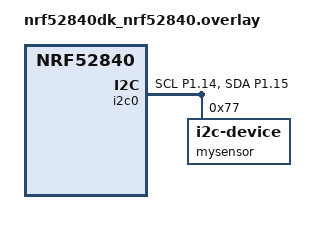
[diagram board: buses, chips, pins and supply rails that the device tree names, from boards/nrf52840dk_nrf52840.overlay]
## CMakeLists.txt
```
cmake_minimum_required(VERSION 3.20.0)
find_package(Zephyr REQUIRED HINTS $ENV{ZEPHYR_BASE})
project(peripheral_nus)

target_sources(app PRIVATE
  src/main.c
)
```

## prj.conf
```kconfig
CONFIG_BT=y
CONFIG_BT_PERIPHERAL=y
CONFIG_BT_ZEPHYR_NUS=y
CONFIG_BT_DEVICE_NAME="NRF_ENV_SENSOR"
# Enable the I2C driver
CONFIG_I2C=y
# Enable floating point format specifiers
CONFIG_CBPRINTF_FP_SUPPORT=y
```

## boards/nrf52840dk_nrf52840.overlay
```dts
&i2c0 {
    status = "okay";
    pinctrl-0 = <&i2c0_default>;
    pinctrl-1 = <&i2c0_sleep>;
    pinctrl-names = "default", "sleep";
        mysensor: mysensor@77{
        compatible = "i2c-device";
        status = "okay";
        reg = < 0x77 >;
    };
};  

&pinctrl {
    /omit-if-no-ref/ i2c0_default: i2c0_default {
        group1  {
            psels = <NRF_PSEL(TWIM_SCL, 1, 14)>,
                <NRF_PSEL(TWIM_SDA, 1, 15)>;
        };
    };
  

    /omit-if-no-ref/ i2c0_sleep: i2c0_sleep {
        group1  {
            psels = <NRF_PSEL(TWIM_SCL, 1, 14)>,
                <NRF_PSEL(TWIM_SDA, 1, 15)>;
            low-power-enable;
        };
    };
};
```

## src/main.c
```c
/*
 * Copyright (c) 2024 Croxel, Inc.
 *
 * SPDX-License-Identifier: Apache-2.0
 */

#include <zephyr/kernel.h>
#include <zephyr/bluetooth/bluetooth.h>
#include <zephyr/bluetooth/services/nus.h>

// sens
#include <zephyr/device.h>
#include <zephyr/devicetree.h>
/* Include the header file of the I2C API */
#include <zephyr/drivers/i2c.h>
/* Include the header file of printk() */
#include <zephyr/sys/printk.h>
// bt 
#define DEVICE_NAME		CONFIG_BT_DEVICE_NAME
#define DEVICE_NAME_LEN		(sizeof(DEVICE_NAME) - 1)
#define SENSOR_BUFF_SIZE    32

// sens
#define SLEEP_TIME_MS 2000
#define CTRLMEAS 0xF4
#define CALIB00	 0x88
#define CALIBP00 0x8E
#define CALIBH00 0xA1
#define ID	     0xD0
// according to docs, read from 0xF7 to 0xFE
#define TEMPMSB	 0xFA
#define PRESMSB  0xF7
#define HUMMSB   0xFD

#define CHIP_ID  0x60
#define SENSOR_CONFIG_VALUE 0x93
/* Get the node identifier of the sensor */
#define I2C_NODE DT_NODELABEL(mysensor)

static int32_t t_fine; // temp compensation

/* Data structure to store BME280 data */
struct bme280_data {
	/* Compensation parameters */
	// for temp
	uint16_t dig_t1;
	int16_t dig_t2;
	int16_t dig_t3;
	// for pressure
	uint16_t dig_p1;
	int16_t dig_p2;
	int16_t dig_p3;
	int16_t dig_p4;
	int16_t dig_p5;
	int16_t dig_p6;
	int16_t dig_p7;
	int16_t dig_p8;
	int16_t dig_p9;
	// for humidity total 8 bytes one byte is half used twice
	uint8_t dig_h1; // 1
	int16_t dig_h2; // 2
	uint8_t dig_h3; // 1
	int16_t dig_h4; // 2
	int16_t dig_h5; // 2
	int8_t  dig_h6; // 1
} bmedata;

enum Sensor_State {
	TEMP,
	HUM,
	PRES
};

enum Sensor_State current_sen_state = TEMP;

// ble fns
static const struct bt_data ad[] = {
	BT_DATA_BYTES(BT_DATA_FLAGS, (BT_LE_AD_GENERAL | BT_LE_AD_NO_BREDR)),
	BT_DATA(BT_DATA_NAME_COMPLETE, DEVICE_NAME, DEVICE_NAME_LEN),
};

static const struct bt_data sd[] = {
	BT_DATA_BYTES(BT_DATA_UUID128_ALL, BT_UUID_NUS_SRV_VAL),
};

static void notif_enabled(bool enabled, void *ctx)
{
	ARG_UNUSED(ctx);

	printk("%s() - %s\n", __func__, (enabled ? "Enabled" : "Disabled"));
}

static void cycle_sensor() {
	if (current_sen_state == TEMP) {
		current_sen_state = HUM;
	} else if (current_sen_state == HUM) {
		current_sen_state = PRES;
	} else {
		current_sen_state = TEMP;
	}
}

static void received(struct bt_conn *conn, const void *data, uint16_t len, void *ctx)
{
	char message[CONFIG_BT_L2CAP_TX_MTU + 1] = "";

	ARG_UNUSED(conn);
	ARG_UNUSED(ctx);

	memcpy(message, data, MIN(sizeof(message) - 1, len));
	cycle_sensor();
}

struct bt_nus_cb nus_listener = {
	.notif_enabled = notif_enabled,
	.received = received,
};

// sensor fns
// sensor calibration
void bme_calibrationdata(const struct i2c_dt_spec *spec, struct bme280_data *sensor_data_ptr)
{
	/* Put calibration function code */

	// calibration values for temp
	uint8_t values[6];  // 6 = 3 * 2
	int ret = i2c_burst_read_dt(spec, CALIB00, values, 6);  
	if (ret != 0) {
		printk("Failed to read register %x \n", CALIB00);
		return;
 	}

	//calibration values for pressure
	uint8_t p_values[18]; // 18 = 9 * 2
	ret = i2c_burst_read_dt(spec, CALIBP00, p_values, 18);  
	if (ret != 0) {
		printk("Failed to read register %x \n", CALIB00);
		return;
 	}

	//calibration values for humidity
	uint8_t h_values[8]; // 8 bytes needed
	ret = i2c_burst_read_dt(spec, CALIBH00, h_values, 9);  
	if (ret != 0) {
		printk("Failed to read register %x \n", CALIB00);
		return;
 	}
	
	sensor_data_ptr->dig_t1 = ((uint16_t)values[1]) << 8 | values[0];
	sensor_data_ptr->dig_t2 = ((uint16_t)values[3]) << 8 | values[2];
	sensor_data_ptr->dig_t3 = ((uint16_t)values[5]) << 8 | values[4];

	sensor_data_ptr->dig_p1 = ((uint16_t)p_values[1]) << 8 | p_values[0];
	sensor_data_ptr->dig_p2 = ((uint16_t)p_values[3]) << 8 | p_values[2];
	sensor_data_ptr->dig_p3 = ((uint16_t)p_values[5]) << 8 | p_values[4];
	sensor_data_ptr->dig_p4 = ((uint16_t)p_values[7]) << 8 | p_values[6];
	sensor_data_ptr->dig_p5 = ((uint16_t)p_values[9]) << 8 | p_values[8];
	sensor_data_ptr->dig_p6 = ((uint16_t)p_values[11]) << 8 | p_values[10];
	sensor_data_ptr->dig_p7 = ((uint16_t)p_values[13]) << 8 | p_values[12];
	sensor_data_ptr->dig_p8 = ((uint16_t)p_values[15]) << 8 | p_values[14];
	sensor_data_ptr->dig_p9 = ((uint16_t)p_values[17]) << 8 | p_values[16];

	sensor_data_ptr->dig_h1 = (uint16_t)h_values[0];
	sensor_data_ptr->dig_h2 = ((uint16_t)h_values[2]) << 8 | p_values[1];
	sensor_data_ptr->dig_h3 = (uint16_t)h_values[3];
	sensor_data_ptr->dig_h4 = (((uint16_t)h_values[5] & 0x0F) << 8 | h_values[4]);
	if (sensor_data_ptr->dig_h4 & 0x800) {
		sensor_data_ptr->dig_h4 |= 0xF000;
	}
	sensor_data_ptr->dig_h5 = (((uint16_t)h_values[6] << 4) | h_values[5] >> 4);
	if (sensor_data_ptr->dig_h5 & 0x800) {
		sensor_data_ptr->dig_h5 |= 0xF000;
	}
	sensor_data_ptr->dig_h6 = (uint16_t)h_values[7];

}

/* Compensate current temperature using previously stored sensor calibration data */
static int32_t bme280_compensate_temp(struct bme280_data *data, int32_t adc_temp)
{
	int32_t var1, var2;

	var1 = (((adc_temp >> 3) - ((int32_t)data->dig_t1 << 1)) * ((int32_t)data->dig_t2)) >> 11;

	var2 = (((((adc_temp >> 4) - ((int32_t)data->dig_t1)) *
		  ((adc_temp >> 4) - ((int32_t)data->dig_t1))) >>
		 12) *
		((int32_t)data->dig_t3)) >>
	       14;

	t_fine = var1 + var2;
	return ((t_fine) * 5 + 128) >> 8;
}

/* Compensate current pressure using previously stored sensor calibration data */
static int32_t bme280_compensate_pres(struct bme280_data *data, int32_t adc_P)
{
	int64_t var1, var2, p;

    var1 = (int64_t)t_fine - 128000;
    var2 = var1 * var1 * (int64_t)data->dig_p6;
    var2 = var2 + ((var1 * (int64_t)data->dig_p5) << 17);
    var2 = var2 + (((int64_t)data->dig_p4) << 35);
    var1 = ((var1 * var1 * (int64_t)data->dig_p3) >> 8) +
           ((var1 * (int64_t)data->dig_p2) << 12);
    var1 = (((((int64_t)1) << 47) + var1) * (int64_t)data->dig_p1) >> 33;

    if (var1 == 0) {
        /* avoid DIV by zero */
        return 0;
    }

    p = 1048576 - adc_P;
    p = (((p << 31) - var2) * 3125) / var1;
    var1 = (((int64_t)data->dig_p9) * (p >> 13) * (p >> 13)) >> 25;
    var2 = (((int64_t)data->dig_p8) * p) >> 19;

    p = ((p + var1 + var2) >> 8) + (((int64_t)data->dig_p7) << 4);
    return (uint32_t)p;
}

// BME280_U32_t bme280_compensate_H_int32(BME280_S32_t adc_H)
// {
// BME280_S32_t v_x1_u32r;
// v_x1_u32r = (t_fine – ((BME280_S32_t)76800));
// v_x1_u32r = (((((adc_H << 14) – (((BME280_S32_t)dig_H4) << 20) – (((BME280_S32_t)dig_H5) * v_x1_u32r)) +
// ((BME280_S32_t)16384)) >> 15) * (((((((v_x1_u32r * ((BME280_S32_t)dig_H6)) >> 10) * (((v_x1_u32r *
// ((BME280_S32_t)dig_H3)) >> 11) + ((BME280_S32_t)32768))) >> 10) + ((BME280_S32_t)2097152)) *
// ((BME280_S32_t)dig_H2) + 8192) >> 14));
// v_x1_u32r = (v_x1_u32r – (((((v_x1_u32r >> 15) * (v_x1_u32r >> 15)) >> 7) * ((BME280_S32_t)dig_H1)) >> 4));
// v_x1_u32r = (v_x1_u32r < 0 ? 0 : v_x1_u32r);
// v_x1_u32r = (v_x1_u32r > 419430400 ? 419430400 : v_x1_u32r);
// return (BME280_U32_t)(v_x1_u32r>>12);
// }

static uint32_t bme280_compensate_hum(struct bme280_data *data, int32_t adc_H) {
    int32_t v_x1_u32r;

    v_x1_u32r = t_fine - 76800;
    v_x1_u32r = (((((adc_H << 14) - (((int32_t)data->dig_h4) << 20) - 
                    ((int32_t)data->dig_h5 * v_x1_u32r)) + 16384) >> 15) *
                 (((((((v_x1_u32r * (int32_t)data->dig_h6) >> 10) *
                      ((v_x1_u32r * ((int32_t)data->dig_h3) >> 11) + 32768)) >> 10) + 2097152) *
                    (int32_t)data->dig_h2 + 8192) >> 14));

    v_x1_u32r = v_x1_u32r - (((((v_x1_u32r >> 15) * (v_x1_u32r >> 15)) >> 7) * 
                              (int32_t)data->dig_h1) >> 4);

    v_x1_u32r = (v_x1_u32r < 0) ? 0 : v_x1_u32r;
    v_x1_u32r = (v_x1_u32r > 419430400) ? 419430400 : v_x1_u32r;

    return (uint32_t)(v_x1_u32r >> 12);
}

int main(void)
{

	// init ble first
	int err;

	printk("Sample - Bluetooth Peripheral NUS\n");

	err = bt_nus_cb_register(&nus_listener, NULL);
	if (err) {
		printk("Failed to register NUS callback: %d\n", err);
		return err;
	}

	err = bt_enable(NULL);
	if (err) {
		printk("Failed to enable bluetooth: %d\n", err);
		return err;
	}

	err = bt_le_adv_start(BT_LE_ADV_CONN_FAST_1, ad, ARRAY_SIZE(ad), sd, ARRAY_SIZE(sd));
	if (err) {
		printk("Failed to start advertising: %d\n", err);
		return err;
	}

	printk("BLE Initialization complete\n");

	// sensor
	/* Retrieve the API-specific device structure and make sure that the device is
	 * ready to use  */
	static const struct i2c_dt_spec dev_i2c = I2C_DT_SPEC_GET(I2C_NODE);
	if (!device_is_ready(dev_i2c.bus)) {
		printk("I2C bus %s is not ready!\n\r",dev_i2c.bus->name);
		return -1;
	}
	/* Verify it is proper device by reading device id (sensor)*/
	uint8_t id = 0;
	uint8_t regs[] = {ID};  
	int ret = i2c_write_read_dt(&dev_i2c, regs, 1, &id, 1);  
	
	if (ret != 0) {
		printk("Failed to read register %x \n", regs[0]);
	return -1;
	}  
	if (id != CHIP_ID) {
		printk("Invalid chip id! %x \n", id);
	return -1;
	}
	bme_calibrationdata(&dev_i2c, &bmedata);

	/* Setup the sensor by writing the value 0x93 to the Configuration register */
	uint8_t sensor_config[] = {CTRLMEAS, SENSOR_CONFIG_VALUE};
	ret = i2c_write_dt(&dev_i2c, sensor_config, 2);  
	if (ret != 0) {
		printk("Failed to write register %x \n", sensor_config[0]);
		return -1;
 	}


	// buffer for output
	char sensor_reading[SENSOR_BUFF_SIZE];
	uint8_t temp_val[8] = {0};  // press x 3, temp x 3, hum x 2
	while (true) {

		// switch (current_sen_state) {
		// case TEMP:
		// 	strcpy(sensor_reading, "Temp!\n");
		// 	break;
		// case HUM:
		// 	strcpy(sensor_reading, "Hum!\n");
		// 	break;
		// case PRES:
		// 	strcpy(sensor_reading, "Pres!\n");
		// }
		// read
		int ret = i2c_burst_read_dt(&dev_i2c, PRESMSB, temp_val, sizeof(temp_val));  
		if (ret != 0) {
			printk("Failed to read register %x \n", PRESMSB);
			k_msleep(SLEEP_TIME_MS);
			continue;
		}
		/* - Put the data read from registers into actual order (see datasheet) */
		int32_t adc_pres = 
			(temp_val[0] << 12) | (temp_val[1] << 4) | ((temp_val[2] >> 4) & 0x0F);			
		int32_t adc_temp = 
			(temp_val[3] << 12) | (temp_val[4] << 4) | ((temp_val[5] >> 4) & 0x0F);
		int32_t adc_hum = 
			(temp_val[6] << 8) | (temp_val[7]);

		switch (current_sen_state) {
		case TEMP:
			/* - Compensate temperature */
			int32_t comp_temp = bme280_compensate_temp(&bmedata, adc_temp);
			// convert and print
			float temperature = (float)comp_temp / 100.0f;
			double fTemp = (double)temperature * 1.8 + 32;  // Print reading to console
			snprintf(sensor_reading, SENSOR_BUFF_SIZE,
			"T: %8.2fC\n",(double)temperature);
			break;
		case HUM:
			/* - Compensate humidity */
			int32_t comp_hum = bme280_compensate_hum(&bmedata, adc_hum);
			// convert and print
			float humidity = (float)(comp_hum) / 1024.0f;
			snprintf(sensor_reading, SENSOR_BUFF_SIZE, "H: %8.5f%%RH\n", (double)humidity);
			break;
		case PRES:
		/* - Compensate pressure */
			int32_t comp_pres = bme280_compensate_pres(&bmedata, adc_pres);
			// convert and print
			float pressure = (float)(comp_pres) / 256;
			snprintf(sensor_reading, SENSOR_BUFF_SIZE, "P: %8.2fPa\n", (double)pressure);
			break;
		default:
			snprintf(sensor_reading, SENSOR_BUFF_SIZE,"error, unknown state");
		}

		k_sleep(K_SECONDS(1));



		err = bt_nus_send(NULL, sensor_reading, strlen(sensor_reading));
		printk("Data send - Result: %d\n", err);


		if (err < 0 && (err != -EAGAIN) && (err != -ENOTCONN)) {
			return err;
		}
		k_sleep(K_SECONDS(1));
	}

	return 0;
}
```
